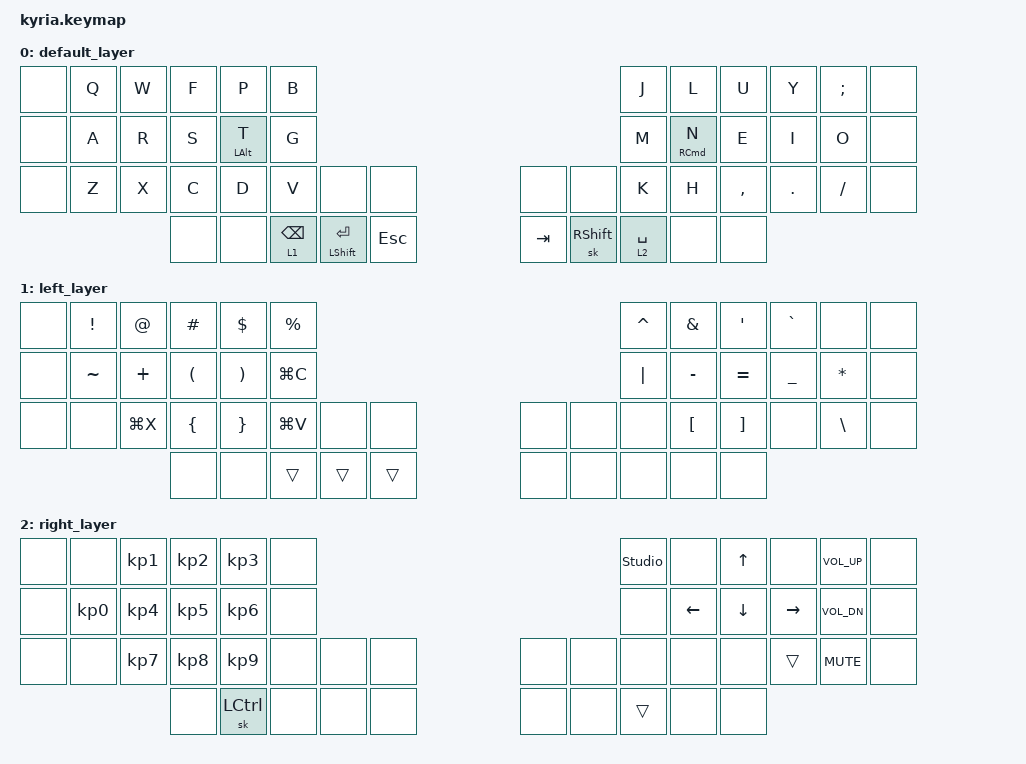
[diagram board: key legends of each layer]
/*
 * Copyright (c) 2020 The ZMK Contributors
 *
 * SPDX-License-Identifier: MIT
 */

#include <behaviors.dtsi>
#include <dt-bindings/zmk/keys.h>
#include <dt-bindings/zmk/bt.h>
#include <dt-bindings/zmk/ext_power.h>

&mt {
  // flavor = "tap-preferred";
  // tapping_term_ms = <200>;
};

/ {
	behaviors {
    hm: homerow_mods {
      compatible = "zmk,behavior-hold-tap";
      label = "HOMEROW_MODS";
      #binding-cells = <2>;
      tapping-term-ms = <200>;
      quick_tap_ms = <0>;
      flavor = "tap-preferred";
      bindings = <&kp>, <&kp>;
    };
    td: tapdance {
      compatible = "zmk,behavior-hold-tap";
      label = "TAPDANCE";
      #binding-cells = <2>;
      tapping-term-ms = <150>;
      quick_tap_ms = <0>;
      flavor = "tap-preferred";
      bindings = <&kp>, <&kp>;
    };
  };

  combos {
    compatible = "zmk,combos";
    combo_esc {
      timeout-ms = <50>;
      key-positions = <1 2>;
      bindings = <&kp ESC>;
    };
  };

	keymap {
		compatible = "zmk,keymap";

		default_layer {
			// _____________________________________________________________                                                       _____________________________________________________________
			// |         |    Q    |    W    |    F    |    P    |    B    |                                                       |    J    |    L    |    U    |    Y    |    ;    |         |
			// |         |    A    |    R    |    S    | LAlt(T) |    G    |____________________               ____________________|    M    | RCmd(N) |    E    |    I    |    O    |         |
			// |         |    Z    |    X    |    C    |    D    |    V    |         |         |               |         |         |    K    |    H    |    ,    |    .    |    /    |         |
			// ------------------------------|         |         |  L1+BS  |  ENT+S  |   ESC   |               |   TAB   |   RET   |  L2+SP  |         |         |------------------------------
			bindings = <
				 &none     &kp Q     &kp W     &kp F     &kp P     &kp B                                                              &kp J     &kp L     &kp U     &kp Y     &kp SEMI  &none
				 &none     &kp A     &kp R     &kp S     &hm LALT T &kp G                                                             &kp M     &hm RCMD N &kp E    &kp I     &kp O     &none
				 &none     &kp Z     &kp X     &kp C     &kp D     &kp V     &none     &none                      &none     &none     &kp K     &kp H     &kp COMMA &kp DOT   &kp FSLH  &none
				                               &none     &none     &lt 1 BSPC &mt LSHFT ENTER &kp ESC             &kp TAB   &sk RSHFT &lt 2 SPACE &none   &none
			>;

			// sensor-bindings = <&inc_dec_kp C_VOL_UP C_VOL_DN &inc_dec_kp PG_UP PG_DN>;
		};

		left_layer {
			// _____________________________________________________________                                                       _____________________________________________________________
			// |         |    !    |    @    |    #    |    $    |    %    |                                                       |    ^    |    &    |    '    |    `    |         |         |
			// |         |    ~    |    +    |    (    |    )    |   COPY  |____________________               ____________________|    |    |    -    |    =    |    _    |    *    |         |
			// |         |         |   EXT   |    {    |    }    |  PASTE  |         |         |               |         |         |         |    [    |    ]    |         |    \    |         |
			// ------------------------------|         |         |  TRANS  |  TRANS  |  TRANS  |               |         |         |         |         |         |------------------------------
			bindings = <
				 &none     &kp EXCL  &kp AT    &kp HASH  &kp DOLLAR &kp PERCENT                                                       &kp CARET &kp AMPS  &kp APOS  &kp GRAVE &none     &none
				 &none     &kp TILDE &kp PLUS  &kp LPAR  &kp RPAR  &kp LG(C)                                                          &kp PIPE  &kp MINUS &kp EQUAL &kp UNDER &kp STAR  &none
				 &none     &none     &kp LG(X) &kp LBRC  &kp RBRC  &kp LG(V) &none     &none                      &none     &none     &none     &kp LBKT  &kp RBKT  &none     &kp BSLH  &none
				                               &none     &none     &trans    &trans    &trans                     &none     &none     &none     &none     &none
			>;
		};

		right_layer {
			// _____________________________________________________________                                                       _____________________________________________________________
			// |         |         |    1    |    2    |    3    |         |                                                       | STUDIO  |         |    UP   |         |  VOL +  |         |
			// |         |    0    |    4    |    5    |    6    |         |____________________               ____________________|         |  LEFT   |   DOWN  |  RIGHT  |  VOL -  |         |
			// |         |         |    7    |    8    |    9    |         |         |         |               |         |         |         |         |         |  TRANS  |  MUTE   |         |
			// ------------------------------|         |  LCtrl  |         |         |         |               |         |         | TRANS   |         |         |------------------------------
			bindings = <
				 &none     &none     &kp KP_N1 &kp KP_N2 &kp KP_N3 &none                                                              &studio_unlock &none &kp UP   &none     &kp C_VOL_UP &none
				 &none     &kp KP_N0 &kp KP_N4 &kp KP_N5 &kp KP_N6 &none                                                              &none     &kp LEFT  &kp DOWN  &kp RIGHT &kp C_VOL_DN &none
			   &none     &none     &kp KP_N7 &kp KP_N8 &kp KP_N9 &none     &none    &none                      &none     &none      &none     &none     &none     &trans    &kp C_MUTE &none
				                               &none     &sk LCTRL &none     &none    &none                      &none     &none      &trans    &none     &none
			>;
		};
	};
};
